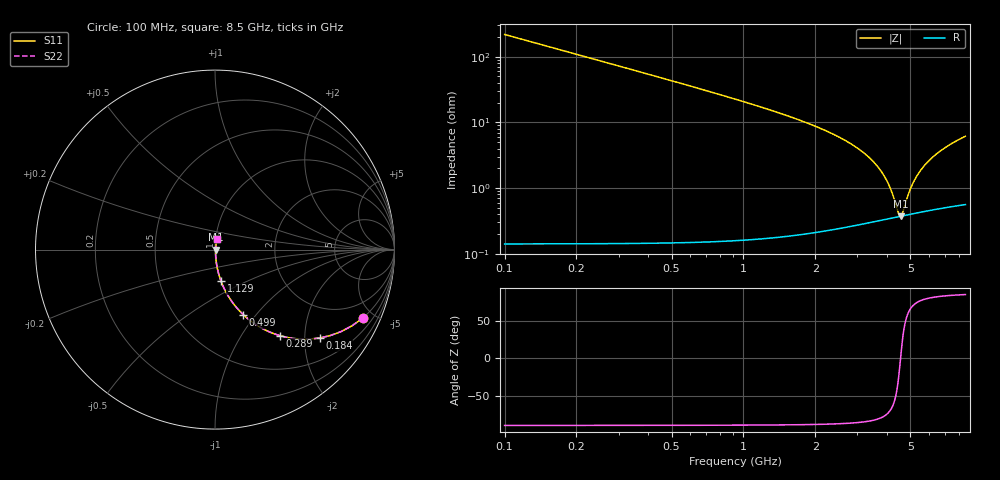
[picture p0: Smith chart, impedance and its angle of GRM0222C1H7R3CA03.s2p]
!Murata Part Number: GRM0222C1H7R3CA03
!These Parameters are Measured in Series Mode Connection
!Data Generated on Mar 30, 2021
!  o--ll--o
!Port1  Port2
!  o------o
!Operation Temp=25[degC], DC Bias Voltage=0[V]
!Freq. Start=100[MHz] Stop=9[GHz] 401[Steps]
# Hz S RI R 50
!Freq.(Hz) S11(Real) S11(Imag) S21(Real) S21(Imag) S12(Real) S12(Imag) S22(Real) S22(Imag)
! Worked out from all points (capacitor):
!   401 points, 100 MHz to 8.5 GHz, reference 50 ohm
!   read as one part in series: C = 7.3 pF near 142 MHz
!   lowest |Z| = 372 mohm at 4.552 GHz (marker M1)
!   series resonance near 4.55 GHz, so ESL is about 170 pH
!   S11 on the Smith chart (normalised r, x): 100 MHz: 1.00, -4.36; 184 MHz: 1.00, -2.37; 289 MHz: 1.00, -1.50; 499 MHz: 1.00, -0.86; 1.129 GHz: 1.00, -0.36; 8.5 GHz: 1.01, +0.12
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1e8  0.8259 -0.3789  0.1741 0.3789  0.1741 0.3789  0.8259 -0.3789
1.84e8  0.5831 -0.4924  0.4169 0.4924  0.4169 0.4924  0.5831 -0.4924
2.89e8  0.361 -0.4793  0.639 0.4793  0.639 0.4793  0.361 -0.4793
3.94e8  0.2322 -0.4209  0.7678 0.4209  0.7678 0.4209  0.2322 -0.4209
4.99e8  0.1578 -0.3628  0.8422 0.3628  0.8422 0.3628  0.1578 -0.3628
7.51e8  0.0749 -0.2606  0.9251 0.2606  0.9251 0.2606  0.0749 -0.2606
1.129e9  0.0332 -0.1745  0.9668 0.1745  0.9668 0.1745  0.0332 -0.1745
1.507e9  0.0179 -0.1258  0.9821 0.1258  0.9821 0.1258  0.0179 -0.1258
2.914e9  0.00455 -0.0433  0.9955 0.0433  0.9955 0.0433  0.00455 -0.0433
3.397e9  0.00375 -0.0278  0.9962 0.0278  0.9962 0.0278  0.00375 -0.0278
3.775e9  0.00353 -0.0176  0.9965 0.0176  0.9965 0.0176  0.00353 -0.0176
4.069e9  0.00352 -0.0105  0.9965 0.0105  0.9965 0.0105  0.00352 -0.0105
4.3e9  0.00358 -0.00528  0.9964 0.00528  0.9964 0.00528  0.00358 -0.00528
4.468e9  0.00366 -0.0017  0.9963 0.0017  0.9963 0.0017  0.00366 -0.0017
4.552e9  0.00371 3.15e-05  0.9963 -3.15e-05  0.9963 -3.15e-05  0.00371 3.15e-05
4.636e9  0.00376 0.00173  0.9962 -0.00173  0.9962 -0.00173  0.00376 0.00173
4.888e9  0.00395 0.00664  0.996 -0.00664  0.996 -0.00664  0.00395 0.00664
5.098e9  0.00414 0.0105  0.9959 -0.0105  0.9959 -0.0105  0.00414 0.0105
5.707e9  0.00482 0.0211  0.9952 -0.0211  0.9952 -0.0211  0.00482 0.0211
6.316e9  0.00562 0.0306  0.9944 -0.0306  0.9944 -0.0306  0.00562 0.0306
7.114e9  0.00683 0.0422  0.9932 -0.0422  0.9932 -0.0422  0.00683 0.0422
8.5e9  0.00925 0.0604  0.9908 -0.0604  0.9908 -0.0604  0.00925 0.0604
